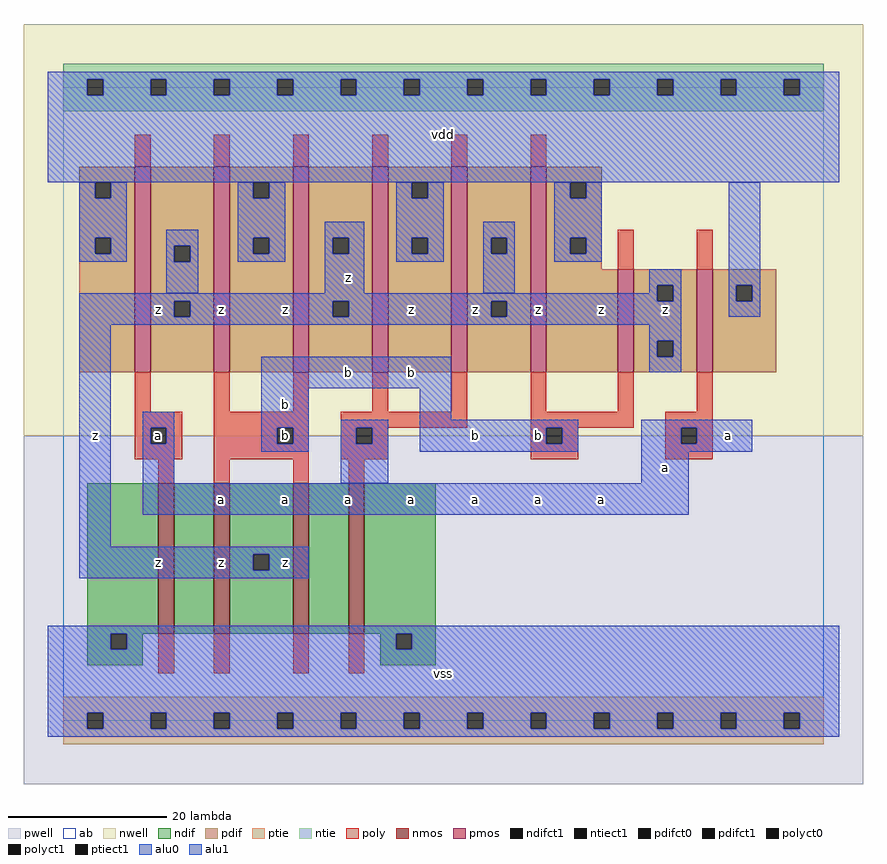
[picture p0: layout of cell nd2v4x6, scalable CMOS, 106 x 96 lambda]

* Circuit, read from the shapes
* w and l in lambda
.subckt nd2v4x6 a b vdd vss z
M1 n1 a vss vss nfet w=19 l=2
M2 z b n1 vss nfet w=19 l=2
M3 n2 b z vss nfet w=19 l=2
M4 vss a n2 vss nfet w=19 l=2
M5 z a vdd vdd pfet w=26 l=2 m=3
M6 vdd b z vdd pfet w=26 l=2 m=3
M7 z b vdd vdd pfet w=13 l=2
M8 vdd a z vdd pfet w=13 l=2
.ends

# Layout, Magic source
magic
tech scmos
<< ab >>
rect 0 0 96 80
<< nwell >>
rect -5 36 101 88
<< pwell >>
rect -5 -8 101 36
<< poly >>
rect 9 70 11 74
rect 19 70 21 74
rect 29 70 31 74
rect 39 70 41 74
rect 49 70 51 74
rect 59 70 61 74
rect 70 57 72 62
rect 80 57 82 62
rect 9 39 11 44
rect 19 39 21 44
rect 29 39 31 44
rect 39 39 41 44
rect 49 39 51 44
rect 9 37 15 39
rect 9 35 11 37
rect 13 35 15 37
rect 9 33 15 35
rect 19 37 31 39
rect 19 35 27 37
rect 29 35 31 37
rect 19 33 31 35
rect 35 37 51 39
rect 59 39 61 44
rect 70 39 72 44
rect 80 39 82 44
rect 59 37 72 39
rect 76 37 82 39
rect 35 35 37 37
rect 39 35 41 37
rect 35 33 41 35
rect 59 35 61 37
rect 63 35 65 37
rect 59 33 65 35
rect 76 35 78 37
rect 80 35 82 37
rect 76 33 82 35
rect 12 30 14 33
rect 19 30 21 33
rect 29 30 31 33
rect 36 30 38 33
rect 12 6 14 11
rect 19 6 21 11
rect 29 6 31 11
rect 36 6 38 11
<< ndif >>
rect 3 11 12 30
rect 14 11 19 30
rect 21 21 29 30
rect 21 19 24 21
rect 26 19 29 21
rect 21 11 29 19
rect 31 11 36 30
rect 38 11 47 30
rect 3 9 6 11
rect 8 9 10 11
rect 3 7 10 9
rect 40 9 42 11
rect 44 9 47 11
rect 40 7 47 9
<< pdif >>
rect 2 68 9 70
rect 2 66 4 68
rect 6 66 9 68
rect 2 61 9 66
rect 2 59 4 61
rect 6 59 9 61
rect 2 44 9 59
rect 11 60 19 70
rect 11 58 14 60
rect 16 58 19 60
rect 11 53 19 58
rect 11 51 14 53
rect 16 51 19 53
rect 11 44 19 51
rect 21 68 29 70
rect 21 66 24 68
rect 26 66 29 68
rect 21 61 29 66
rect 21 59 24 61
rect 26 59 29 61
rect 21 44 29 59
rect 31 61 39 70
rect 31 59 34 61
rect 36 59 39 61
rect 31 53 39 59
rect 31 51 34 53
rect 36 51 39 53
rect 31 44 39 51
rect 41 68 49 70
rect 41 66 44 68
rect 46 66 49 68
rect 41 61 49 66
rect 41 59 44 61
rect 46 59 49 61
rect 41 44 49 59
rect 51 61 59 70
rect 51 59 54 61
rect 56 59 59 61
rect 51 53 59 59
rect 51 51 54 53
rect 56 51 59 53
rect 51 44 59 51
rect 61 68 68 70
rect 61 66 64 68
rect 66 66 68 68
rect 61 61 68 66
rect 61 59 64 61
rect 66 59 68 61
rect 61 57 68 59
rect 61 44 70 57
rect 72 55 80 57
rect 72 53 75 55
rect 77 53 80 55
rect 72 48 80 53
rect 72 46 75 48
rect 77 46 80 48
rect 72 44 80 46
rect 82 55 90 57
rect 82 53 85 55
rect 87 53 90 55
rect 82 44 90 53
<< alu1 >>
rect -2 81 98 82
rect -2 79 3 81
rect 5 79 11 81
rect 13 79 19 81
rect 21 79 27 81
rect 29 79 35 81
rect 37 79 43 81
rect 45 79 51 81
rect 53 79 59 81
rect 61 79 67 81
rect 69 79 75 81
rect 77 79 83 81
rect 85 79 91 81
rect 93 79 98 81
rect -2 68 98 79
rect 33 61 38 63
rect 33 59 34 61
rect 36 59 38 61
rect 33 54 38 59
rect 74 55 78 57
rect 74 54 75 55
rect 2 53 75 54
rect 77 53 78 55
rect 2 51 14 53
rect 16 51 34 53
rect 36 51 54 53
rect 56 51 78 53
rect 2 50 78 51
rect 2 22 6 50
rect 74 48 78 50
rect 74 46 75 48
rect 77 46 78 48
rect 25 42 49 46
rect 74 44 78 46
rect 10 37 14 39
rect 10 35 11 37
rect 13 35 14 37
rect 10 30 14 35
rect 25 37 31 42
rect 45 38 49 42
rect 25 35 27 37
rect 29 35 31 37
rect 25 34 31 35
rect 45 37 65 38
rect 45 35 61 37
rect 63 35 65 37
rect 45 34 65 35
rect 73 37 87 38
rect 73 35 78 37
rect 80 35 87 37
rect 73 34 87 35
rect 73 30 79 34
rect 10 26 79 30
rect 2 21 31 22
rect 2 19 24 21
rect 26 19 31 21
rect 2 18 31 19
rect -2 11 98 12
rect -2 9 6 11
rect 8 9 42 11
rect 44 9 98 11
rect -2 1 98 9
rect -2 -1 3 1
rect 5 -1 11 1
rect 13 -1 19 1
rect 21 -1 27 1
rect 29 -1 35 1
rect 37 -1 43 1
rect 45 -1 51 1
rect 53 -1 59 1
rect 61 -1 67 1
rect 69 -1 75 1
rect 77 -1 83 1
rect 85 -1 91 1
rect 93 -1 98 1
rect -2 -2 98 -1
<< ptie >>
rect 0 1 96 3
rect 0 -1 3 1
rect 5 -1 11 1
rect 13 -1 19 1
rect 21 -1 27 1
rect 29 -1 35 1
rect 37 -1 43 1
rect 45 -1 51 1
rect 53 -1 59 1
rect 61 -1 67 1
rect 69 -1 75 1
rect 77 -1 83 1
rect 85 -1 91 1
rect 93 -1 96 1
rect 0 -3 96 -1
<< ntie >>
rect 0 81 96 83
rect 0 79 3 81
rect 5 79 11 81
rect 13 79 19 81
rect 21 79 27 81
rect 29 79 35 81
rect 37 79 43 81
rect 45 79 51 81
rect 53 79 59 81
rect 61 79 67 81
rect 69 79 75 81
rect 77 79 83 81
rect 85 79 91 81
rect 93 79 96 81
rect 0 77 96 79
<< nmos >>
rect 12 11 14 30
rect 19 11 21 30
rect 29 11 31 30
rect 36 11 38 30
<< pmos >>
rect 9 44 11 70
rect 19 44 21 70
rect 29 44 31 70
rect 39 44 41 70
rect 49 44 51 70
rect 59 44 61 70
rect 70 44 72 57
rect 80 44 82 57
<< polyct0 >>
rect 37 35 39 37
<< polyct1 >>
rect 11 35 13 37
rect 27 35 29 37
rect 61 35 63 37
rect 78 35 80 37
<< ndifct1 >>
rect 24 19 26 21
rect 6 9 8 11
rect 42 9 44 11
<< ntiect1 >>
rect 3 79 5 81
rect 11 79 13 81
rect 19 79 21 81
rect 27 79 29 81
rect 35 79 37 81
rect 43 79 45 81
rect 51 79 53 81
rect 59 79 61 81
rect 67 79 69 81
rect 75 79 77 81
rect 83 79 85 81
rect 91 79 93 81
<< ptiect1 >>
rect 3 -1 5 1
rect 11 -1 13 1
rect 19 -1 21 1
rect 27 -1 29 1
rect 35 -1 37 1
rect 43 -1 45 1
rect 51 -1 53 1
rect 59 -1 61 1
rect 67 -1 69 1
rect 75 -1 77 1
rect 83 -1 85 1
rect 91 -1 93 1
<< pdifct0 >>
rect 4 66 6 68
rect 4 59 6 61
rect 14 58 16 60
rect 24 66 26 68
rect 24 59 26 61
rect 44 66 46 68
rect 44 59 46 61
rect 54 59 56 61
rect 64 66 66 68
rect 64 59 66 61
rect 85 53 87 55
<< pdifct1 >>
rect 14 51 16 53
rect 34 59 36 61
rect 34 51 36 53
rect 54 51 56 53
rect 75 53 77 55
rect 75 46 77 48
<< alu0 >>
rect 2 66 4 68
rect 6 66 8 68
rect 2 61 8 66
rect 22 66 24 68
rect 26 66 28 68
rect 2 59 4 61
rect 6 59 8 61
rect 2 58 8 59
rect 13 60 17 62
rect 13 58 14 60
rect 16 58 17 60
rect 22 61 28 66
rect 42 66 44 68
rect 46 66 48 68
rect 22 59 24 61
rect 26 59 28 61
rect 22 58 28 59
rect 13 54 17 58
rect 42 61 48 66
rect 62 66 64 68
rect 66 66 68 68
rect 42 59 44 61
rect 46 59 48 61
rect 42 58 48 59
rect 53 61 57 63
rect 53 59 54 61
rect 56 59 57 61
rect 53 54 57 59
rect 62 61 68 66
rect 62 59 64 61
rect 66 59 68 61
rect 62 58 68 59
rect 84 55 88 68
rect 84 53 85 55
rect 87 53 88 55
rect 84 51 88 53
rect 35 37 41 38
rect 35 35 37 37
rect 39 35 41 37
rect 35 30 41 35
<< labels >>
rlabel alu1 12 20 12 20 6 z
rlabel polyct1 12 36 12 36 6 a
rlabel alu1 4 36 4 36 6 z
rlabel alu1 12 52 12 52 6 z
rlabel alu1 20 20 20 20 6 z
rlabel alu1 20 28 20 28 6 a
rlabel alu1 28 20 28 20 6 z
rlabel alu1 28 28 28 28 6 a
rlabel polyct1 28 36 28 36 6 b
rlabel alu1 28 40 28 40 6 b
rlabel alu1 28 52 28 52 6 z
rlabel alu1 20 52 20 52 6 z
rlabel alu1 48 6 48 6 6 vss
rlabel alu1 36 28 36 28 6 a
rlabel alu1 44 28 44 28 6 a
rlabel alu1 52 28 52 28 6 a
rlabel alu1 36 44 36 44 6 b
rlabel alu1 44 44 44 44 6 b
rlabel alu1 52 36 52 36 6 b
rlabel alu1 44 52 44 52 6 z
rlabel alu1 52 52 52 52 6 z
rlabel alu1 36 56 36 56 6 z
rlabel alu1 48 74 48 74 6 vdd
rlabel alu1 60 28 60 28 6 a
rlabel alu1 68 28 68 28 6 a
rlabel alu1 76 32 76 32 6 a
rlabel alu1 60 36 60 36 6 b
rlabel alu1 68 52 68 52 6 z
rlabel alu1 76 52 76 52 6 z
rlabel alu1 60 52 60 52 6 z
rlabel alu1 84 36 84 36 6 a
<< end >>
